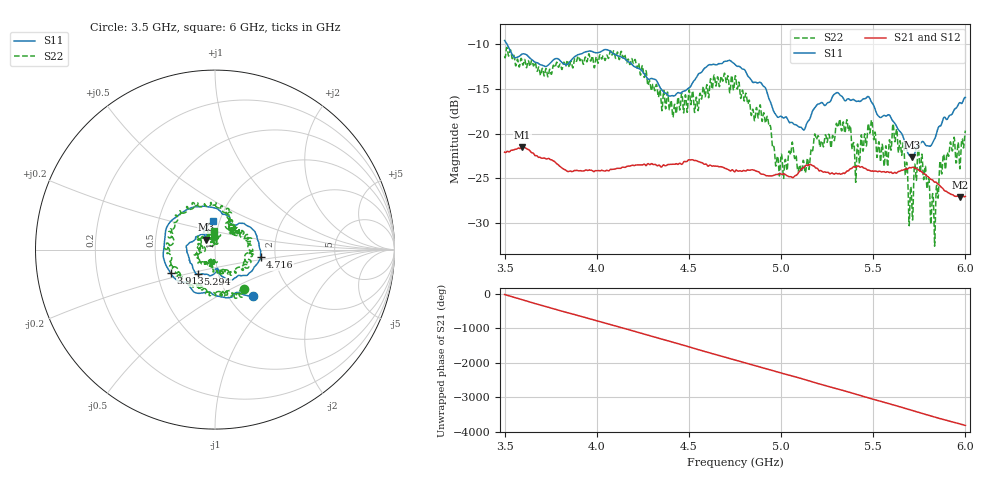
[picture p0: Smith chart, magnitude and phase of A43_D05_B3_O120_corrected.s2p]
! Created with skrf 1.9.0 (http://scikit-rf.org).
# Hz S RI R 50.0
!freq ReS11 ImS11 ReS21 ImS21 ReS12 ImS12 ReS22 ImS22
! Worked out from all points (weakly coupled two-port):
!   1601 points, 3.5 GHz to 6 GHz, reference 50 ohm
!   highest |S21| = -21.50 dB at 3.595 GHz (marker M1); lowest = -27.1 dB at 5.973 GHz (marker M2)
!   lowest |S11| = -22.6 dB at 5.711 GHz (marker M3), VSWR 1.16, Z = 45.1 + j5.02 ohm
!   |S11| at or under -10 dB: 3.514 GHz to end of sweep
!   |S22| runs from -32.6 to -10.3 dB; largest |S21 - S12| = 0.0011
!   S11 on the Smith chart (normalised r, x): 3.5 GHz: 1.29, -0.75; 3.913 GHz: 0.59, -0.17; 4.716 GHz: 1.67, -0.15; 5.294 GHz: 0.80, -0.23; 6 GHz: 0.93, +0.30
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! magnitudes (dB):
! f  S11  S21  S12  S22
! 3.5 GHz  -9.5  -22.1  -22.0  -11.3
! 3.595 GHz  -11.1  -21.5  -21.5  -12.0
! 3.913 GHz  -11.1  -24.1  -24.1  -11.7
! 3.917 GHz  -11.0  -24.2  -24.1  -11.5
! 4.141 GHz  -11.5  -23.7  -23.7  -11.4
! 4.334 GHz  -14.5  -23.5  -23.4  -15.9
! 4.422 GHz  -15.7  -23.4  -23.4  -16.7
! 4.716 GHz  -11.8  -24.0  -24.0  -14.1
! 4.75 GHz  -12.2  -24.2  -24.1  -13.7
! 4.933 GHz  -16.0  -24.7  -24.6  -19.0
! 4.981 GHz  -18.1  -24.6  -24.5  -22.5
! 5.167 GHz  -17.6  -23.5  -23.4  -21.8
! 5.294 GHz  -15.5  -24.4  -24.4  -20.0
! 5.414 GHz  -16.4  -23.6  -23.6  -21.2
! 5.584 GHz  -17.9  -24.3  -24.2  -21.5
! 5.617 GHz  -18.8  -24.3  -24.3  -20.9
! 5.711 GHz  -22.6  -23.8  -23.7  -28.9
! 5.753 GHz  -21.2  -24.1  -24.1  -24.0
! 5.823 GHz  -21.0  -25.2  -25.1  -26.7
! 5.872 GHz  -18.8  -26.0  -25.9  -24.5
! 5.973 GHz  -16.5  -27.1  -27.0  -23.0
! 6 GHz  -15.9  -27.0  -26.9  -19.6
